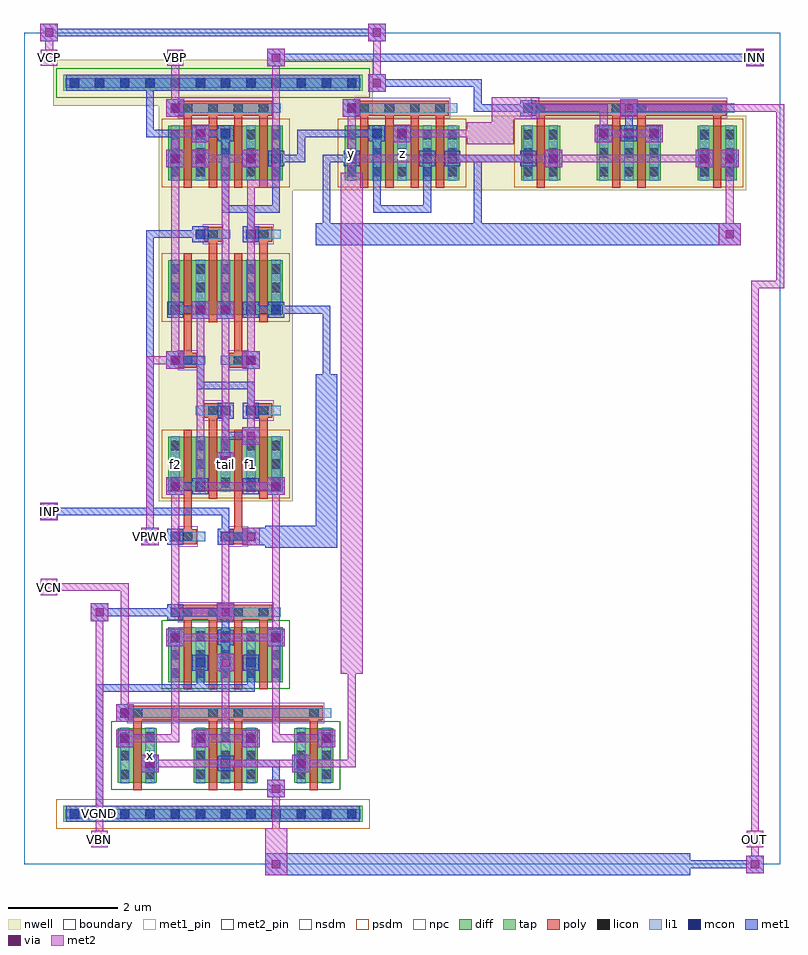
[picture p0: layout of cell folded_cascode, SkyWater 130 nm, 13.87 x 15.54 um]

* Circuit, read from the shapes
.subckt folded_cascode INN INP OUT VBN VBP VCN VCP VGND VPWR f1 f2 tail x y z
XM1 x VCN f1 VGND sky130_fd_pr__nfet_01v8 w=1 l=0.15 m=2
XM2 VGND VBN f1 VGND sky130_fd_pr__nfet_01v8 w=1 l=0.15 m=2
XM3 OUT VCN f2 VGND sky130_fd_pr__nfet_01v8 w=1 l=0.15 m=2
XM4 f2 VBN VGND VGND sky130_fd_pr__nfet_01v8 w=1 l=0.15 m=2
XM5 f2 VPWR f2 VPWR sky130_fd_pr__pfet_01v8 w=1 l=0.15 m=2
XM6 f1 VPWR f1 VPWR sky130_fd_pr__pfet_01v8 w=1 l=0.15 m=2
XM7 tail VBP VPWR VPWR sky130_fd_pr__pfet_01v8 w=1 l=0.15 m=4
XM8 tail INN f2 VPWR sky130_fd_pr__pfet_01v8 w=1 l=0.15 m=2
XM9 tail INP f1 VPWR sky130_fd_pr__pfet_01v8 w=1 l=0.15 m=2
XM10 VPWR x y VPWR sky130_fd_pr__pfet_01v8 w=1 l=0.15 m=2
XM11 z x VPWR VPWR sky130_fd_pr__pfet_01v8 w=1 l=0.15 m=2
XM12 x VCP y VPWR sky130_fd_pr__pfet_01v8 w=1 l=0.15 m=2
XM13 OUT VCP z VPWR sky130_fd_pr__pfet_01v8 w=1 l=0.15 m=2
.ends

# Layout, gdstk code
import gdstk
lib = gdstk.Library(unit=1e-6, precision=1e-09)
def R(c, l, rs):  # rectangles x0, y0, x1, y1
    for r in rs: c.add(gdstk.rectangle(r[:2], r[2:], *l))
def A(c, l, x, y, w, h, nx, ny, dx, dy):  # array of equal rectangles
    R(c, l, [(x+i*dx, y+j*dy, x+i*dx+w, y+j*dy+h) for i in range(nx) for j in range(ny)])
nwell = (64, 20)
diff = (65, 20)
tap = (65, 44)
poly = (66, 20)
licon = (66, 44)
li1 = (67, 20)
mcon = (67, 44)
met1_pin = (68, 16)
met1 = (68, 20)
via = (68, 44)
met2_pin = (69, 16)
met2 = (69, 20)
nsdm = (93, 44)
psdm = (94, 20)
npc = (95, 20)
boundary = (235, 4)

folded_cascode = lib.new_cell('folded_cascode')
R(folded_cascode, nwell, [(2.455,6.625,4.905,12.3), (2.455,12.3,13.185,13.66), (2.455,13.66,6.365,13.84), (0.535,13.84,6.365,14.68)])
R(folded_cascode, diff, [(1.715,1.485,2.425,2.485), (3.095,1.485,4.265,2.485), (4.935,1.485,5.645,2.485), (2.635,3.325,4.725,4.325), (2.635,6.805,4.725,7.805), (2.635,10.025,4.725,11.025), (2.635,12.48,4.725,13.48), (5.855,12.48,7.945,13.48), (9.075,12.48,9.785,13.48), (10.455,12.48,11.625,13.48), (12.295,12.48,13.005,13.48)])
R(folded_cascode, tap, [(0.715,0.775,6.185,1.065), (0.715,14.115,6.185,14.405)])
A(folded_cascode, poly, 2.915, 3.195, 0.15, 1.405, 4, 1, 0.46, 0)
A(folded_cascode, poly, 2.915, 12.35, 0.15, 1.45, 4, 1, 0.46, 0)
A(folded_cascode, poly, 6.135, 12.35, 0.15, 1.45, 4, 1, 0.46, 0)
R(folded_cascode, poly, [(1.995,1.355,2.145,2.76), (3.375,1.355,3.525,2.76), (3.835,1.355,3.985,2.76), (5.215,1.355,5.365,2.76), (1.905,2.625,5.455,2.895), (2.825,4.465,4.535,4.735), (2.825,5.845,3.155,6.115), (3.745,5.845,4.075,6.115), (2.915,5.98,3.065,7.935), (3.835,5.98,3.985,7.935), (3.375,6.675,3.525,8.28), (4.295,6.675,4.445,8.28), (3.285,8.145,3.615,8.415), (4.205,8.145,4.535,8.415), (2.825,9.065,3.155,9.335), (3.745,9.065,4.075,9.335), (2.915,9.2,3.065,11.155), (3.835,9.2,3.985,11.155), (3.375,9.895,3.525,11.5), (4.295,9.895,4.445,11.5), (3.285,11.365,3.615,11.635), (4.205,11.365,4.535,11.635), (9.355,12.35,9.505,13.8), (10.735,12.35,10.885,13.8), (11.195,12.35,11.345,13.8), (12.575,12.35,12.725,13.8), (2.825,13.665,4.535,13.935), (6.045,13.665,7.755,13.935), (9.265,13.665,12.815,13.935)])
A(folded_cascode, licon, 0.835, 0.835, 0.17, 0.17, 12, 2, 0.46, 13.34)
A(folded_cascode, licon, 1.755, 1.56, 0.17, 0.17, 1, 3, 0, 0.34)
A(folded_cascode, licon, 2.215, 1.56, 0.17, 0.17, 1, 3, 0, 0.34)
A(folded_cascode, licon, 3.135, 1.56, 0.17, 0.17, 3, 3, 0.46, 0.34)
A(folded_cascode, licon, 4.975, 1.56, 0.17, 0.17, 1, 3, 0, 0.34)
A(folded_cascode, licon, 5.435, 1.56, 0.17, 0.17, 1, 3, 0, 0.34)
A(folded_cascode, licon, 3.825, 2.675, 0.17, 0.17, 1, 3, 0, 3.22)
A(folded_cascode, licon, 2.675, 3.4, 0.17, 0.17, 5, 3, 0.46, 0.34)
A(folded_cascode, licon, 2.905, 4.515, 0.17, 0.17, 4, 2, 0.46, 9.2)
A(folded_cascode, licon, 2.675, 6.88, 0.17, 0.17, 5, 3, 0.46, 0.34)
A(folded_cascode, licon, 2.675, 10.1, 0.17, 0.17, 5, 3, 0.46, 0.34)
A(folded_cascode, licon, 2.675, 12.555, 0.17, 0.17, 5, 3, 0.46, 0.34)
A(folded_cascode, licon, 5.895, 12.555, 0.17, 0.17, 5, 3, 0.46, 0.34)
A(folded_cascode, licon, 9.115, 12.555, 0.17, 0.17, 1, 3, 0, 0.34)
A(folded_cascode, licon, 9.575, 12.555, 0.17, 0.17, 1, 3, 0, 0.34)
A(folded_cascode, licon, 10.495, 12.555, 0.17, 0.17, 3, 3, 0.46, 0.34)
A(folded_cascode, licon, 12.335, 12.555, 0.17, 0.17, 1, 3, 0, 0.34)
A(folded_cascode, licon, 12.795, 12.555, 0.17, 0.17, 1, 3, 0, 0.34)
A(folded_cascode, licon, 6.125, 13.715, 0.17, 0.17, 4, 1, 0.46, 0)
R(folded_cascode, licon, [(1.985,2.675,2.155,2.845), (3.365,2.675,3.535,2.845), (5.205,2.675,5.375,2.845), (2.905,5.895,3.075,6.065), (3.365,8.195,3.535,8.365), (4.285,8.195,4.455,8.365), (2.905,9.115,3.075,9.285), (3.365,11.415,3.535,11.585), (4.285,11.415,4.455,11.585), (9.345,13.715,9.515,13.885), (10.725,13.715,10.895,13.885), (11.185,13.715,11.355,13.885), (12.565,13.715,12.735,13.885)])
A(folded_cascode, li1, 3.135, 1.48, 0.17, 1.01, 3, 1, 0.46, 0)
A(folded_cascode, li1, 2.675, 3.32, 0.17, 1.01, 5, 2, 0.46, 3.48)
A(folded_cascode, li1, 2.675, 10.02, 0.17, 1.01, 5, 2, 0.46, 2.455)
A(folded_cascode, li1, 5.895, 12.475, 0.17, 1.01, 5, 1, 0.46, 0)
A(folded_cascode, li1, 10.495, 12.475, 0.17, 1.01, 3, 1, 0.46, 0)
R(folded_cascode, li1, [(0.755,0.835,6.145,1.005), (1.755,1.48,1.925,2.49), (2.215,1.48,2.385,2.49), (4.975,1.48,5.145,2.49), (5.435,1.48,5.605,2.49), (1.755,2.675,5.605,2.845), (2.675,4.515,4.685,4.685), (2.675,5.895,3.305,6.065), (3.595,5.895,4.225,6.065), (3.135,8.195,3.765,8.365), (4.055,8.195,4.685,8.365), (2.675,9.115,3.305,9.285), (3.595,9.115,4.225,9.285), (3.135,11.415,3.765,11.585), (4.055,11.415,4.685,11.585), (9.115,12.475,9.285,13.485), (9.575,12.475,9.745,13.485), (12.335,12.475,12.505,13.485), (12.795,12.475,12.965,13.485), (2.675,13.715,4.685,13.885), (5.895,13.715,7.905,13.885), (9.115,13.715,12.965,13.885), (0.755,14.175,6.145,14.345)])
A(folded_cascode, mcon, 0.835, 0.835, 0.17, 0.17, 12, 2, 0.46, 13.34)
A(folded_cascode, mcon, 2.215, 1.755, 0.17, 0.17, 3, 1, 1.38, 0)
A(folded_cascode, mcon, 2.675, 4.055, 0.17, 0.17, 3, 1, 0.92, 0)
A(folded_cascode, mcon, 2.675, 10.035, 0.17, 0.17, 5, 1, 0.46, 0)
A(folded_cascode, mcon, 4.515, 12.795, 0.17, 0.17, 3, 1, 1.38, 0)
A(folded_cascode, mcon, 10.495, 13.255, 0.17, 0.17, 3, 1, 0.46, 0)
A(folded_cascode, mcon, 2.675, 13.715, 0.17, 0.17, 3, 1, 3.22, 0)
R(folded_cascode, mcon, [(1.755,2.215,1.925,2.385), (3.135,2.215,3.305,2.385), (4.055,2.215,4.225,2.385), (5.435,2.215,5.605,2.385), (1.755,2.675,1.925,2.845), (3.135,3.595,3.305,3.765), (4.055,3.595,4.225,3.765), (2.675,4.515,2.845,4.685), (2.675,5.895,2.845,6.065), (3.595,5.895,3.765,6.065), (2.675,6.815,2.845,6.985), (3.135,6.815,3.305,6.985), (4.055,6.815,4.225,6.985), (4.515,6.815,4.685,6.985), (3.595,7.275,3.765,7.445), (3.595,8.195,3.765,8.365), (4.055,8.195,4.225,8.365), (2.675,9.115,2.845,9.285), (4.055,9.115,4.225,9.285), (3.135,11.415,3.305,11.585), (4.055,11.415,4.225,11.585), (2.675,12.795,2.845,12.965), (3.135,12.795,3.305,12.965), (4.055,12.795,4.225,12.965), (7.735,12.795,7.905,12.965), (9.115,12.795,9.285,12.965), (9.575,12.795,9.745,12.965), (12.335,12.795,12.505,12.965), (12.795,12.795,12.965,12.965), (3.595,13.255,3.765,13.425), (6.355,13.255,6.525,13.425), (6.815,13.255,6.985,13.425)])
R(folded_cascode, met1_pin, [(1.31,0.85,1.45,0.99), (2.14,5.82,2.46,6.14)])
A(folded_cascode, met1, 4.44, 1.22, 0.32, 0.32, 1, 3, 0, 2.76)
A(folded_cascode, met1, 2.155, 1.695, 0.29, 0.29, 3, 1, 1.38, 0)
A(folded_cascode, met1, 2.615, 3.995, 0.29, 0.29, 3, 1, 0.92, 0)
A(folded_cascode, met1, 3.61, 4.07, 0.14, 0.6, 1, 3, 0, 1.84)
A(folded_cascode, met1, 3.52, 4.44, 0.32, 0.32, 1, 3, 0, 2.76)
A(folded_cascode, met1, 2.615, 9.975, 0.29, 0.29, 5, 1, 0.46, 0)
A(folded_cascode, met1, 4.455, 12.735, 0.29, 0.29, 3, 1, 1.38, 0)
A(folded_cascode, met1, 3.06, 13.18, 0.32, 0.32, 3, 1, 3.68, 0)
A(folded_cascode, met1, 10.435, 13.195, 0.29, 0.29, 3, 1, 0.46, 0)
A(folded_cascode, met1, 2.615, 13.655, 0.29, 0.29, 3, 1, 3.22, 0)
R(folded_cascode, met1, [(4.4,-0.2,12.16,0.2), (4.4,-0.2,4.8,0.2), (13.18,-0.16,13.5,0.16), (11.89,-0.07,13.41,0.07), (0.775,0.775,6.125,1.065), (1.31,0.85,1.45,0.99), (1.31,0.85,1.45,3.29), (4.53,1.31,4.67,1.91), (2.14,1.68,2.46,2), (4.9,1.68,5.22,2), (3.61,1.77,4.67,1.91), (1.68,2.14,2,2.46), (3.06,2.14,3.38,2.46), (3.98,2.14,4.3,2.46), (5.36,2.14,5.68,2.46), (1.695,2.155,1.985,2.445), (3.075,2.155,3.365,2.445), (3.995,2.155,4.285,2.445), (5.375,2.155,5.665,2.445), (1.68,2.6,2,2.92), (1.695,2.615,1.985,2.905), (1.31,3.15,3.29,3.29), (3.15,3.15,4.21,3.29), (3.15,3.15,3.29,3.75), (4.07,3.15,4.21,3.75), (3.52,3.52,3.84,3.84), (3.075,3.535,3.365,3.825), (3.995,3.535,4.285,3.825), (3.61,3.61,3.75,4.21), (2.6,3.98,2.92,4.3), (1.22,4.44,1.54,4.76), (2.615,4.455,2.905,4.745), (1.31,4.53,2.83,4.67), (4.4,5.78,5.72,6.18), (5.32,5.78,5.72,8.94), (2.14,5.82,2.46,6.14), (3.98,5.82,4.3,6.14), (4.3,5.82,4.4,6.14), (2.615,5.835,2.905,6.125), (3.535,5.835,3.825,6.125), (2.23,5.91,2.83,6.05), (4.07,5.91,4.67,6.05), (0.3,6.28,0.62,6.6), (0.39,6.37,3.75,6.51), (2.23,6.37,2.37,11.57), (2.6,6.74,2.92,7.06), (2.615,6.755,2.905,7.045), (3.075,6.755,3.365,7.045), (3.995,6.755,4.285,7.045), (4.455,6.755,4.745,7.045), (2.69,6.83,3.29,6.97), (4.07,6.83,4.67,6.97), (3.535,7.215,3.825,7.505), (3.98,7.66,4.3,7.98), (3.61,7.75,4.21,7.89), (3.535,8.135,3.825,8.425), (3.995,8.135,4.285,8.425), (4.07,8.21,4.21,8.81), (3.15,8.67,4.21,8.81), (3.15,8.67,3.29,9.27), (5.45,8.67,5.59,10.19), (2.6,9.04,2.92,9.36), (3.98,9.04,4.3,9.36), (2.615,9.055,2.905,9.345), (3.995,9.055,4.285,9.345), (2.69,9.13,3.29,9.27), (3.06,9.96,3.38,10.28), (2.69,10.05,3.29,10.19), (4.07,10.05,4.67,10.19), (4.53,10.05,5.59,10.19), (5.32,11.3,8.48,11.7), (8.08,11.3,13.08,11.7), (12.68,11.3,13.08,11.7), (3.075,11.355,3.365,11.645), (3.995,11.355,4.285,11.645), (2.23,11.43,3.29,11.57), (4.07,11.43,4.21,12.03), (5.45,11.43,5.59,12.95), (8.21,11.43,8.35,12.95), (3.61,11.89,4.21,12.03), (3.61,11.89,3.75,13.41), (4.07,11.89,4.67,12.03), (4.53,11.89,4.67,12.95), (6.37,11.89,7.43,12.03), (6.37,11.89,6.51,13.41), (7.29,11.89,7.43,12.95), (2.6,12.72,2.92,13.04), (3.06,12.72,3.38,13.04), (3.98,12.72,4.3,13.04), (9.5,12.72,9.82,13.04), (12.26,12.72,12.58,13.04), (12.72,12.72,13.04,13.04), (2.615,12.735,2.905,13.025), (3.075,12.735,3.365,13.025), (3.995,12.735,4.285,13.025), (7.675,12.735,7.965,13.025), (9.055,12.735,9.345,13.025), (9.515,12.735,9.805,13.025), (12.275,12.735,12.565,13.025), (12.735,12.735,13.025,13.025), (2.69,12.81,2.83,13.41), (4.53,12.81,5.13,12.95), (4.99,12.81,5.13,13.41), (5.45,12.81,6.05,12.95), (7.75,12.81,8.35,12.95), (8.21,12.81,9.27,12.95), (11.34,13.18,11.66,13.5), (3.535,13.195,3.825,13.485), (6.295,13.195,6.585,13.485), (6.755,13.195,7.045,13.485), (2.23,13.27,2.83,13.41), (2.23,13.27,2.37,14.33), (3.15,13.27,3.75,13.41), (4.99,13.27,6.51,13.41), (10.97,13.27,11.11,13.87), (2.6,13.64,2.92,13.96), (5.82,13.64,6.14,13.96), (10.88,13.64,11.2,13.96), (8.21,13.73,9.27,13.87), (8.21,13.73,8.35,14.33), (6.28,14.1,6.6,14.42), (0.775,14.115,6.125,14.405), (2.23,14.19,2.37,14.33), (6.37,14.19,8.35,14.33), (4.44,14.56,4.76,14.88), (13.18,14.56,13.5,14.88), (4.53,14.65,13.41,14.79), (0.3,15.02,0.62,15.34), (6.28,15.02,6.6,15.34), (0.39,15.11,6.51,15.25)])
A(folded_cascode, via, 4.525, 1.305, 0.15, 0.15, 1, 3, 0, 2.76)
A(folded_cascode, via, 3.605, 4.525, 0.15, 0.15, 1, 3, 0, 2.76)
A(folded_cascode, via, 3.145, 13.265, 0.15, 0.15, 3, 1, 3.68, 0)
R(folded_cascode, via, [(4.525,-0.075,4.675,0.075), (13.265,-0.075,13.415,0.075), (2.225,1.765,2.375,1.915), (4.985,1.765,5.135,1.915), (1.765,2.225,1.915,2.375), (3.145,2.225,3.295,2.375), (4.065,2.225,4.215,2.375), (5.445,2.225,5.595,2.375), (1.765,2.685,1.915,2.835), (3.605,3.605,3.755,3.755), (2.685,4.065,2.835,4.215), (1.305,4.525,1.455,4.675), (2.225,5.905,2.375,6.055), (4.065,5.905,4.215,6.055), (0.385,6.365,0.535,6.515), (2.685,6.825,2.835,6.975), (4.065,7.745,4.215,7.895), (2.685,9.125,2.835,9.275), (4.065,9.125,4.215,9.275), (3.145,10.045,3.295,10.195), (12.805,11.425,12.955,11.575), (2.685,12.805,2.835,12.955), (3.145,12.805,3.295,12.955), (4.065,12.805,4.215,12.955), (9.585,12.805,9.735,12.955), (12.345,12.805,12.495,12.955), (12.805,12.805,12.955,12.955), (11.425,13.265,11.575,13.415), (2.685,13.725,2.835,13.875), (5.905,13.725,6.055,13.875), (10.965,13.725,11.115,13.875), (6.365,14.185,6.515,14.335), (4.525,14.645,4.675,14.795), (13.265,14.645,13.415,14.795), (0.385,15.105,0.535,15.255), (6.365,15.105,6.515,15.255)])
R(folded_cascode, met2_pin, [(1.23,0.31,1.53,0.61), (13.19,0.31,13.49,0.61), (0.31,4.91,0.61,5.21), (0.31,6.29,0.61,6.59), (0.31,14.57,0.61,14.87), (2.61,14.57,2.91,14.87), (13.19,14.57,13.49,14.87)])
A(folded_cascode, met2, 4.44, 1.22, 0.32, 0.32, 1, 3, 0, 2.76)
A(folded_cascode, met2, 3.52, 4.44, 0.32, 0.32, 1, 3, 0, 2.76)
A(folded_cascode, met2, 3.06, 13.18, 0.32, 0.32, 3, 1, 3.68, 0)
R(folded_cascode, met2, [(4.4,-0.2,4.8,0.2), (4.4,-0.2,4.8,0.66), (13.18,-0.16,13.5,0.16), (13.27,-0.07,13.41,0.53), (1.23,0.31,1.53,0.61), (13.19,0.31,13.49,0.61), (1.31,0.39,1.45,0.53), (1.31,0.39,1.45,4.67), (4.53,0.39,4.67,1.45), (13.27,0.39,13.41,10.65), (13.27,0.39,13.41,0.53), (2.14,1.68,2.46,2), (4.9,1.68,5.22,2), (2.23,1.77,5.13,1.91), (4.99,1.77,6.05,1.91), (5.91,1.77,6.05,3.75), (1.68,2.14,2,2.46), (3.06,2.14,3.38,2.46), (3.98,2.14,4.3,2.46), (5.36,2.14,5.68,2.46), (1.77,2.23,2.83,2.37), (2.69,2.23,2.83,4.21), (3.15,2.23,3.75,2.37), (3.61,2.23,3.75,3.75), (3.61,2.23,4.21,2.37), (4.53,2.23,5.59,2.37), (4.53,2.23,4.67,4.21), (1.68,2.6,2,2.92), (1.77,2.69,1.91,5.13), (5.78,3.48,6.18,12.62), (3.52,3.52,3.84,3.84), (2.6,3.98,2.92,4.3), (2.69,4.07,4.67,4.21), (4.53,4.07,4.67,6.97), (1.22,4.44,1.54,4.76), (2.69,4.53,3.75,4.67), (2.69,4.53,2.83,6.97), (3.61,4.53,3.75,6.05), (0.31,4.91,0.61,5.21), (0.39,4.99,1.91,5.13), (0.39,4.99,0.53,5.13), (2.14,5.82,2.46,6.14), (3.98,5.82,4.3,6.14), (2.23,5.91,2.37,9.27), (3.61,5.91,4.21,6.05), (0.3,6.28,0.62,6.6), (0.31,6.29,0.61,6.59), (0.39,6.37,0.53,6.51), (2.6,6.74,2.92,7.06), (3.15,6.83,3.29,10.19), (3.15,6.83,4.67,6.97), (3.61,7.29,3.75,10.19), (3.98,7.66,4.3,7.98), (4.07,7.75,4.21,9.27), (2.6,9.04,2.92,9.36), (3.98,9.04,4.3,9.36), (2.23,9.13,2.83,9.27), (2.69,9.13,2.83,12.95), (4.07,9.13,4.21,12.49), (3.06,9.96,3.38,10.28), (3.61,10.05,3.75,12.95), (13.27,10.51,13.87,10.65), (13.73,10.51,13.87,13.87), (12.68,11.3,13.08,11.7), (12.81,11.43,12.95,12.95), (4.07,12.35,4.67,12.49), (4.53,12.35,4.67,14.79), (5.91,12.35,6.05,13.87), (2.6,12.72,2.92,13.04), (3.06,12.72,3.38,13.04), (3.98,12.72,4.3,13.04), (9.5,12.72,9.82,13.04), (12.26,12.72,12.58,13.04), (12.72,12.72,13.04,13.04), (2.69,12.81,2.83,13.41), (3.15,12.81,3.75,12.95), (3.61,12.81,4.21,12.95), (5.91,12.81,9.73,12.95), (9.59,12.81,12.49,12.95), (8.08,13.14,8.94,13.54), (8.54,13.14,8.94,14), (11.34,13.18,11.66,13.5), (2.69,13.27,3.29,13.41), (6.83,13.27,8.35,13.41), (10.51,13.27,10.65,13.87), (10.51,13.27,11.57,13.41), (8.54,13.6,9.4,14), (2.6,13.64,2.92,13.96), (5.82,13.64,6.14,13.96), (10.88,13.64,11.2,13.96), (2.69,13.73,2.83,14.79), (9.13,13.73,10.65,13.87), (10.97,13.73,13.87,13.87), (6.28,14.1,6.6,14.42), (6.37,14.19,6.51,15.25), (4.44,14.56,4.76,14.88), (13.18,14.56,13.5,14.88), (0.31,14.57,0.61,14.87), (2.61,14.57,2.91,14.87), (13.19,14.57,13.49,14.87), (0.39,14.65,0.53,15.25), (0.39,14.65,0.53,14.79), (2.69,14.65,2.83,14.79), (13.27,14.65,13.41,14.79), (0.3,15.02,0.62,15.34), (6.28,15.02,6.6,15.34)])
R(folded_cascode, nsdm, [(1.59,1.36,5.77,2.61), (2.51,3.2,4.85,4.45), (0.59,13.99,6.31,14.53)])
R(folded_cascode, psdm, [(0.59,0.65,6.31,1.19), (2.51,6.68,4.85,7.93), (2.51,9.9,4.85,11.15), (2.51,12.355,4.85,13.605), (5.73,12.355,8.07,13.605), (8.95,12.355,13.13,13.605)])
R(folded_cascode, npc, [(1.885,2.575,5.475,2.945), (2.805,4.415,4.555,4.785), (2.805,5.795,3.175,6.165), (3.725,5.795,4.095,6.165), (3.265,8.095,3.635,8.465), (4.185,8.095,4.555,8.465), (2.805,9.015,3.175,9.385), (3.725,9.015,4.095,9.385), (3.265,11.315,3.635,11.685), (4.185,11.315,4.555,11.685), (2.805,13.615,4.555,13.985), (6.025,13.615,7.775,13.985), (9.245,13.615,12.835,13.985)])
R(folded_cascode, boundary, [(0,0,13.8,15.18)])
folded_cascode.add(gdstk.Label('f2', (2.76,7.305), layer=67, texttype=5))
folded_cascode.add(gdstk.Label('tail', (3.68,7.305), layer=67, texttype=5))
folded_cascode.add(gdstk.Label('f1', (4.14,7.305), layer=67, texttype=5))
folded_cascode.add(gdstk.Label('x', (2.3,1.985), layer=67, texttype=5))
folded_cascode.add(gdstk.Label('y', (5.98,12.98), layer=67, texttype=5))
folded_cascode.add(gdstk.Label('z', (6.9,12.98), layer=67, texttype=5))
folded_cascode.add(gdstk.Label('VPWR', (2.3,5.98), layer=68, texttype=5))
folded_cascode.add(gdstk.Label('VGND', (1.38,0.92), layer=68, texttype=5))
folded_cascode.add(gdstk.Label('INP', (0.46,6.44), layer=69, texttype=5))
folded_cascode.add(gdstk.Label('INN', (13.34,14.72), layer=69, texttype=5))
folded_cascode.add(gdstk.Label('VBP', (2.76,14.72), layer=69, texttype=5))
folded_cascode.add(gdstk.Label('VBN', (1.38,0.46), layer=69, texttype=5))
folded_cascode.add(gdstk.Label('VCN', (0.46,5.06), layer=69, texttype=5))
folded_cascode.add(gdstk.Label('VCP', (0.46,14.72), layer=69, texttype=5))
folded_cascode.add(gdstk.Label('OUT', (13.34,0.46), layer=69, texttype=5))
folded_cascode.add(gdstk.Label('VPWR', (2.3,5.98), layer=68, texttype=16))
folded_cascode.add(gdstk.Label('VGND', (1.38,0.92), layer=68, texttype=16))
folded_cascode.add(gdstk.Label('INP', (0.46,6.44), layer=69, texttype=16))
folded_cascode.add(gdstk.Label('INN', (13.34,14.72), layer=69, texttype=16))
folded_cascode.add(gdstk.Label('VBP', (2.76,14.72), layer=69, texttype=16))
folded_cascode.add(gdstk.Label('VBN', (1.38,0.46), layer=69, texttype=16))
folded_cascode.add(gdstk.Label('VCN', (0.46,5.06), layer=69, texttype=16))
folded_cascode.add(gdstk.Label('VCP', (0.46,14.72), layer=69, texttype=16))
folded_cascode.add(gdstk.Label('OUT', (13.34,0.46), layer=69, texttype=16))

lib.write_gds('folded_cascode.gds')
